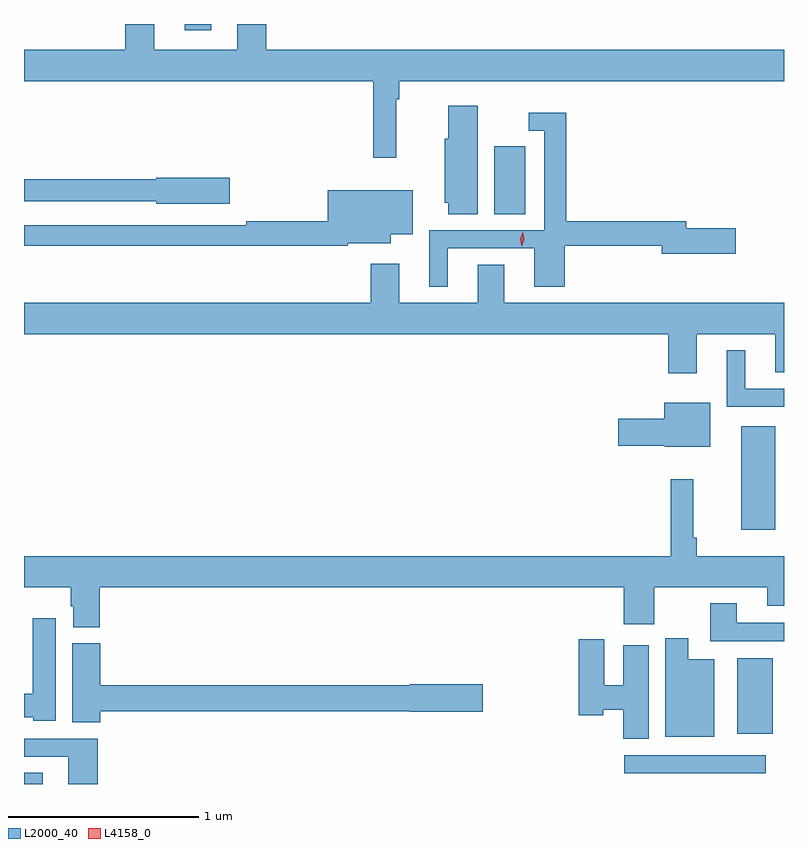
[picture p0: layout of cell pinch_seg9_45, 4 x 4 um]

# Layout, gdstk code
import gdstk
lib = gdstk.Library(unit=1e-6, precision=1e-09)
def R(c, l, rs):  # rectangles x0, y0, x1, y1
    for r in rs: c.add(gdstk.rectangle(r[:2], r[2:], *l))
def P(c, l, *ps):  # polygons
    for p in ps: c.add(gdstk.Polygon(p, *l))
L2000_40 = (2000, 40)
L4158_0 = (4158, 0)

pinch_seg9_45 = lib.new_cell('pinch_seg9_45')
R(pinch_seg9_45, L2000_40, [(981.167,1240.672,981.265,1240.73), (984.327,1240.728,985.072,1240.824), (984.92,1240.937,985.108,1241.335), (984.941,1242.011,985.12,1242.556), (983.642,1243.672,983.806,1244.029), (982.013,1244.64,982.153,1244.672)])
P(pinch_seg9_45, L2000_40, [(983.126,1244.276),(983.141,1244.276),(983.141,1244.372),(985.167,1244.372),(985.167,1244.536),(982.442,1244.536),(982.442,1244.672),(982.289,1244.672),(982.289,1244.536),(981.853,1244.536),(981.853,1244.672),(981.701,1244.672),(981.701,1244.536),(981.167,1244.536),(981.167,1244.372),(983.005,1244.372),(983.005,1243.968),(983.126,1243.968)],
  [(983.554,1244.242),(983.399,1244.242),(983.399,1244.067),(983.381,1244.067),(983.381,1243.731),(983.399,1243.731),(983.399,1243.672),(983.554,1243.672)],
  [(983.398,1243.491),(983.852,1243.491),(983.852,1243.29),(984.014,1243.29),(984.014,1243.506),(984.524,1243.506),(984.524,1243.463),(984.913,1243.463),(984.913,1243.598),(984.652,1243.598),(984.652,1243.634),(984.02,1243.634),(984.02,1244.206),(983.823,1244.206),(983.823,1244.109),(983.904,1244.109),(983.904,1243.587),(983.3,1243.587),(983.3,1243.29),(983.398,1243.29)],
  [(982.249,1243.862),(981.864,1243.862),(981.864,1243.856),(981.167,1243.856),(981.167,1243.74),(981.864,1243.74),(981.864,1243.727),(982.249,1243.727)],
  [(982.87,1243.517),(983.098,1243.517),(983.098,1243.565),(983.212,1243.565),(983.212,1243.798),(982.766,1243.798),(982.766,1243.634),(982.336,1243.634),(982.336,1243.614),(981.167,1243.614),(981.167,1243.506),(982.87,1243.506)],
  [(984.709,1243.04),(985.121,1243.04),(985.121,1242.838),(985.167,1242.838),(985.167,1243.204),(983.695,1243.204),(983.695,1243.406),(983.555,1243.406),(983.555,1243.204),(983.143,1243.204),(983.143,1243.411),(982.991,1243.411),(982.991,1243.204),(981.167,1243.204),(981.167,1243.04),(984.557,1243.04),(984.557,1242.834),(984.709,1242.834)],
  [(985.167,1242.753),(984.964,1242.753),(984.964,1242.955),(984.866,1242.955),(984.866,1242.657),(985.167,1242.657)],
  [(984.778,1242.679),(984.536,1242.679),(984.536,1242.594),(984.294,1242.594),(984.294,1242.452),(984.54,1242.452),(984.54,1242.446),(984.778,1242.446)],
  [(981.566,1241.708),(984.323,1241.708),(984.323,1241.514),(984.483,1241.514),(984.483,1241.708),(985.079,1241.708),(985.079,1241.609),(985.167,1241.609),(985.167,1241.872),(984.707,1241.872),(984.707,1241.968),(984.69,1241.968),(984.69,1242.277),(984.571,1242.277),(984.571,1241.872),(981.167,1241.872),(981.167,1241.708),(981.413,1241.708),(981.413,1241.607),(981.425,1241.607),(981.425,1241.497),(981.566,1241.497)],
  [(985.167,1241.52),(984.919,1241.52),(984.919,1241.623),(984.779,1241.623),(984.779,1241.424),(985.167,1241.424)],
  [(981.334,1241.545),(981.212,1241.545),(981.212,1241.146),(981.167,1241.146),(981.167,1241.024),(981.216,1241.024),(981.216,1241.006),(981.334,1241.006)],
  [(984.799,1241.329),(984.664,1241.329),(984.664,1241.44),(984.542,1241.44),(984.542,1240.922),(984.799,1240.922)],
  [(984.454,1241.401),(984.32,1241.401),(984.32,1241.193),(984.22,1241.193),(984.22,1241.434),(984.086,1241.434),(984.086,1241.033),(984.216,1241.033),(984.216,1241.063),(984.32,1241.063),(984.32,1240.909),(984.454,1240.909)],
  [(981.569,1241.056),(983.196,1241.056),(983.196,1241.051),(983.581,1241.051),(983.581,1241.198),(983.196,1241.198),(983.196,1241.192),(981.569,1241.192),(981.569,1241.412),(981.422,1241.412),(981.422,1240.996),(981.569,1240.996)],
  [(981.554,1240.911),(981.167,1240.911),(981.167,1240.815),(981.401,1240.815),(981.401,1240.672),(981.554,1240.672)])
P(pinch_seg9_45, L4158_0, [(983.788,1243.502),(983.788,1243.503),(983.78,1243.539),(983.791,1243.575),(983.791,1243.575),(983.791,1243.575),(983.8,1243.538),(983.788,1243.503)])

lib.write_gds('pinch_seg9_45.gds')
